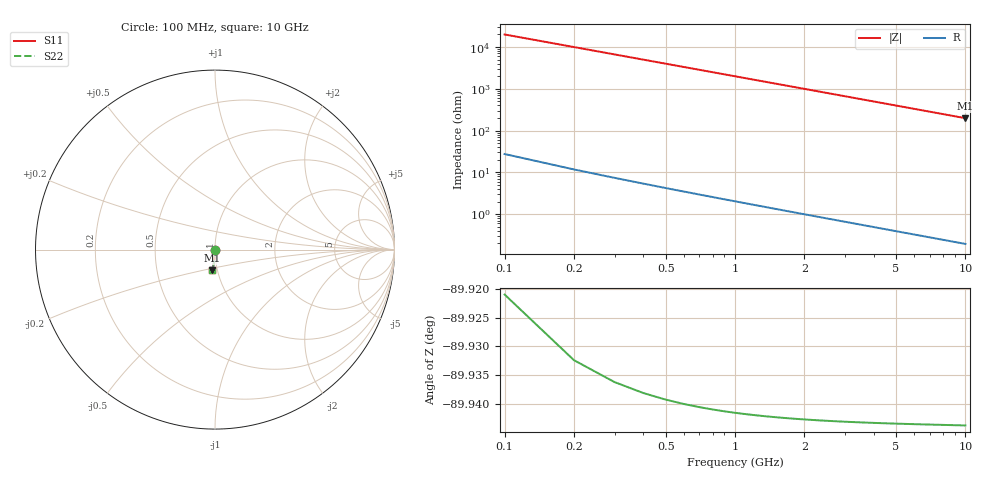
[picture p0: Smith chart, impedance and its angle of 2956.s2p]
# Hz S RI R 50.00
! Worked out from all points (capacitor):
!   100 points, 100 MHz to 10 GHz, reference 50 ohm
!   read as one part in shunt: C = 79.7 fF near 100 MHz
!   lowest |Z| = 198 ohm at 10 GHz (marker M1)
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1e8  3.69e-05 -0.00117  1 -0.00134  1 -0.00134  3.69e-05 -0.00117
2e8  3.13e-05 -0.00233  1 -0.00267  1 -0.00267  3.13e-05 -0.00233
3e8  2.25e-05 -0.0035  0.9999 -0.00401  0.9999 -0.00401  2.25e-05 -0.0035
4e8  1.05e-05 -0.00467  0.9999 -0.00535  0.9999 -0.00535  1.05e-05 -0.00467
5e8  -4.65e-06 -0.00583  0.9999 -0.00669  0.9999 -0.00669  -4.65e-06 -0.00583
6e8  -2.29e-05 -0.007  0.9999 -0.00802  0.9999 -0.00802  -2.29e-05 -0.007
7e8  -4.43e-05 -0.00817  0.9999 -0.00936  0.9999 -0.00936  -4.43e-05 -0.00817
8e8  -6.88e-05 -0.00933  0.9998 -0.0107  0.9998 -0.0107  -6.88e-05 -0.00933
9e8  -9.65e-05 -0.0105  0.9998 -0.012  0.9998 -0.012  -9.65e-05 -0.0105
1.1e9  -0.000161 -0.0128  0.9998 -0.0147  0.9998 -0.0147  -0.000161 -0.0128
1.4e9  -0.000282 -0.0163  0.9996 -0.0187  0.9996 -0.0187  -0.000282 -0.0163
1.8e9  -0.000486 -0.021  0.9994 -0.0241  0.9994 -0.0241  -0.000486 -0.021
2.1e9  -0.000673 -0.0245  0.9992 -0.0281  0.9992 -0.0281  -0.000673 -0.0245
2.5e9  -0.000965 -0.0292  0.9989 -0.0334  0.9989 -0.0334  -0.000965 -0.0292
2.9e9  -0.00131 -0.0338  0.9986 -0.0388  0.9986 -0.0388  -0.00131 -0.0338
3.4e9  -0.00181 -0.0397  0.9981 -0.0455  0.9981 -0.0455  -0.00181 -0.0397
4.2e9  -0.00277 -0.049  0.9971 -0.0562  0.9971 -0.0562  -0.00277 -0.049
5.1e9  -0.00409 -0.0594  0.9958 -0.0682  0.9958 -0.0682  -0.00409 -0.0594
5.9e9  -0.00548 -0.0687  0.9944 -0.0788  0.9944 -0.0788  -0.00548 -0.0687
6.7e9  -0.00706 -0.078  0.9928 -0.0895  0.9928 -0.0895  -0.00706 -0.078
8.4e9  -0.0111 -0.0975  0.9887 -0.1119  0.9887 -0.1119  -0.0111 -0.0975
1e10  -0.0157 -0.1157  0.9841 -0.1329  0.9841 -0.1329  -0.0157 -0.1157
